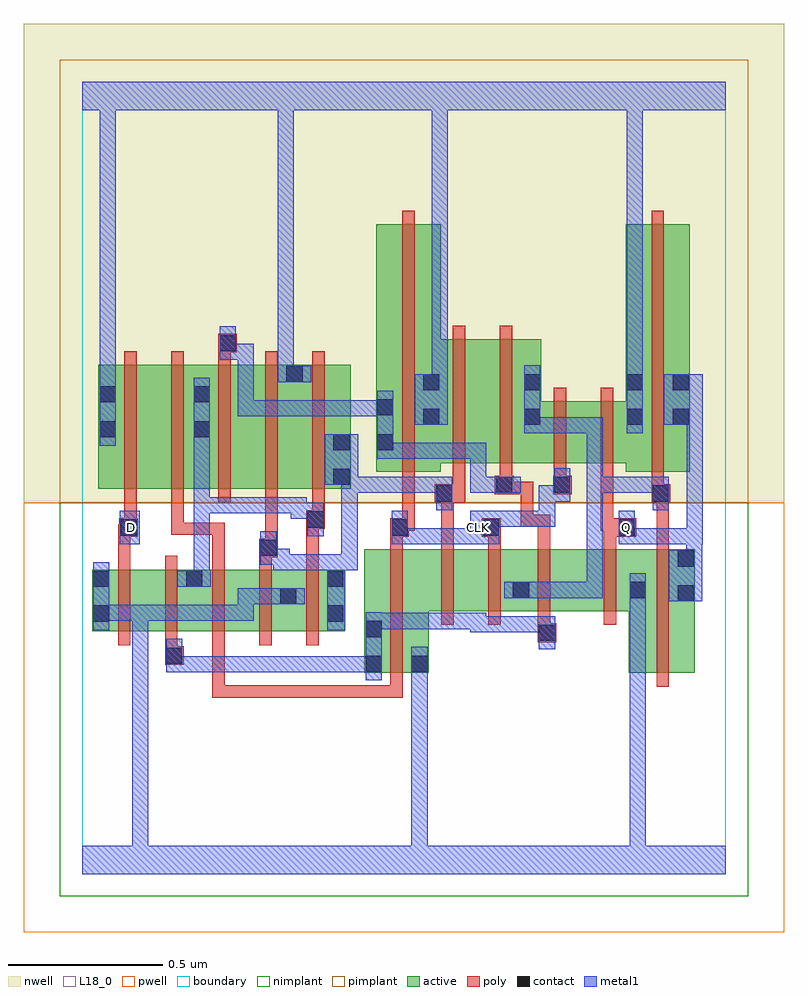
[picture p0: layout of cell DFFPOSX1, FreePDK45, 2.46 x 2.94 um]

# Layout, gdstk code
import gdstk
lib = gdstk.Library(unit=1e-6, precision=1e-09)
def R(c, l, rs):  # rectangles x0, y0, x1, y1
    for r in rs: c.add(gdstk.rectangle(r[:2], r[2:], *l))
def A(c, l, x, y, w, h, nx, ny, dx, dy):  # array of equal rectangles
    R(c, l, [(x+i*dx, y+j*dy, x+i*dx+w, y+j*dy+h) for i in range(nx) for j in range(ny)])
active = (1, 0)
pwell = (2, 0)
nwell = (3, 0)
nimplant = (4, 0)
pimplant = (5, 0)
poly = (9, 0)
contact = (10, 0)
metal1 = (11, 0)
L18_0 = (18, 0)
boundary = (235, 0)

dffposx1 = lib.new_cell('DFFPOSX1')
R(dffposx1, active, [(0.912,0.65,1.12,1.05), (0.912,0.65,0.972,1.05), (1.06,0.65,1.12,0.906), (1.766,0.65,1.98,1.05), (1.92,0.756,1.98,1.05), (0.032,0.784,0.092,0.984), (0.032,0.784,0.212,0.984), (0.212,0.784,0.392,0.984), (0.332,0.784,0.392,0.984), (0.332,0.784,0.516,0.984), (0.516,0.784,0.696,0.984), (0.636,0.784,0.696,0.984), (0.636,0.784,0.848,0.984), (0.788,0.784,0.848,0.984), (1.766,0.834,1.826,1.028), (1.06,0.85,1.256,1.05), (1.256,0.85,1.448,1.05), (1.388,0.85,1.63,1.05), (1.388,0.85,1.448,1.028), (1.63,0.85,1.826,1.05), (0.052,1.246,0.112,1.646), (0.052,1.246,0.232,1.646), (0.232,1.246,0.416,1.646), (0.356,1.246,0.416,1.646), (0.356,1.246,0.536,1.646), (0.536,1.246,0.716,1.646), (0.656,1.246,0.868,1.646), (0.808,1.246,0.868,1.644), (0.95,1.3,1.01,2.044), (0.95,1.3,1.158,2.1), (1.756,1.3,1.964,2.1), (1.904,1.3,1.964,2.044), (1.098,1.328,1.294,1.728), (1.294,1.328,1.484,1.728), (1.424,1.328,1.62,1.528), (1.62,1.328,1.816,1.528), (1.756,1.344,1.816,1.62), (1.098,1.372,1.158,1.966), (1.424,1.372,1.484,1.62), (0.656,1.472,0.716,1.646)])
R(dffposx1, pwell, [(-0.188,-0.188,2.268,1.2)])
R(dffposx1, nwell, [(-0.188,1.2,2.268,2.748)])
R(dffposx1, nimplant, [(-0.072,-0.072,2.152,1.2)])
R(dffposx1, pimplant, [(-0.072,1.2,2.152,2.632)])
A(dffposx1, poly, 0.116, 0.74, 0.04, 0.288, 5, 1, 0.152, 0)
A(dffposx1, poly, 0.136, 1.202, 0.04, 0.488, 5, 1, 0.152, 0)
R(dffposx1, poly, [(0.42,0.57,0.46,0.61), (0.42,0.57,0.46,0.61), (0.42,0.57,0.46,0.61), (0.42,0.57,0.46,0.61), (0.42,0.57,0.46,0.61), (0.42,0.57,0.658,0.61), (0.42,0.57,0.46,0.78), (0.618,0.57,0.658,0.61), (0.618,0.57,0.658,0.61), (0.618,0.57,0.658,0.61), (0.618,0.57,0.658,0.61), (0.618,0.57,0.658,0.61), (0.618,0.57,0.764,0.61), (0.724,0.57,0.764,0.61), (0.724,0.57,0.764,0.61), (0.724,0.57,0.764,0.61), (0.724,0.57,1.036,0.61), (0.996,0.57,1.036,0.646), (0.996,0.57,1.036,0.61), (0.996,0.57,1.036,0.61), (0.996,0.57,1.036,0.61), (0.996,0.606,1.036,1.094), (1.856,0.606,1.896,1.094), (0.268,0.676,0.328,0.736), (0.268,0.696,0.308,0.78), (1.472,0.75,1.532,0.81), (1.472,0.77,1.512,0.846), (1.16,0.806,1.2,1.094), (1.312,0.806,1.352,1.094), (1.472,0.806,1.512,1.094), (1.686,0.806,1.726,1.094), (0.116,0.988,0.156,1.13), (0.42,0.988,0.46,1.136), (0.572,0.988,0.612,1.064), (0.724,0.988,0.764,1.156), (0.572,1.024,0.632,1.084), (0.592,1.044,0.632,1.084), (0.592,1.044,0.632,1.084), (0.592,1.044,0.632,1.242), (0.996,1.054,1.036,1.13), (1.16,1.054,1.2,1.24), (1.312,1.054,1.352,1.13), (1.472,1.054,1.512,1.162), (1.686,1.054,1.726,1.13), (1.856,1.054,1.896,1.24), (0.116,1.09,0.16,1.13), (0.12,1.09,0.16,1.13), (0.12,1.09,0.18,1.15), (0.996,1.09,1.056,1.15), (1.292,1.09,1.352,1.15), (1.686,1.09,1.79,1.15), (0.288,1.096,0.328,1.136), (0.288,1.096,0.328,1.136), (0.288,1.096,0.328,1.136), (0.288,1.096,0.328,1.136), (0.288,1.096,0.328,1.136), (0.288,1.096,0.328,1.242), (0.288,1.096,0.46,1.136), (0.42,1.096,0.46,1.136), (0.136,1.11,0.176,1.242), (1.016,1.11,1.056,1.15), (1.016,1.11,1.074,1.15), (1.034,1.11,1.074,1.296), (1.676,1.11,1.716,1.324), (1.676,1.11,1.726,1.15), (1.686,1.11,1.726,1.15), (0.724,1.116,0.764,1.156), (0.724,1.116,0.764,1.156), (0.724,1.116,0.784,1.176), (1.418,1.122,1.458,1.162), (1.418,1.122,1.512,1.162), (1.418,1.122,1.458,1.268), (1.472,1.122,1.512,1.162), (0.744,1.136,0.784,1.242), (1.14,1.2,1.238,1.26), (1.16,1.2,1.2,1.24), (1.16,1.2,1.2,1.24), (1.84,1.2,1.9,1.26), (1.856,1.2,1.896,1.24), (1.856,1.2,1.896,1.24), (1.198,1.22,1.238,1.324), (1.84,1.22,1.88,1.296), (1.334,1.228,1.394,1.288), (1.354,1.228,1.458,1.268), (1.418,1.228,1.458,1.268), (1.522,1.228,1.582,1.288), (1.35,1.248,1.39,1.324), (1.524,1.248,1.564,1.324), (1.034,1.256,1.074,2.144), (1.84,1.256,1.88,2.144), (1.198,1.284,1.238,1.772), (1.35,1.284,1.39,1.772), (1.524,1.284,1.564,1.572), (1.676,1.284,1.716,1.572), (0.44,1.65,0.48,1.726), (0.44,1.686,0.5,1.746)])
R(dffposx1, contact, [(0.916,0.654,0.968,0.706), (1.064,0.654,1.116,0.706), (0.272,0.68,0.324,0.732), (1.476,0.754,1.528,0.806), (0.916,0.766,0.968,0.818), (0.036,0.816,0.088,0.868), (0.792,0.816,0.844,0.868), (0.64,0.872,0.692,0.924), (1.924,0.882,1.976,0.934), (1.392,0.892,1.444,0.944), (1.77,0.892,1.822,0.944), (0.036,0.928,0.088,0.98), (0.336,0.928,0.388,0.98), (0.792,0.928,0.844,0.98), (1.924,0.994,1.976,1.046), (0.576,1.028,0.628,1.08), (0.124,1.094,0.176,1.146), (1,1.094,1.052,1.146), (1.296,1.094,1.348,1.146), (1.734,1.094,1.786,1.146), (0.728,1.12,0.78,1.172), (1.144,1.204,1.196,1.256), (1.844,1.204,1.896,1.256), (1.338,1.232,1.39,1.284), (1.526,1.232,1.578,1.284), (0.812,1.258,0.864,1.31), (0.812,1.37,0.864,1.422), (0.954,1.37,1.006,1.422), (0.056,1.412,0.108,1.464), (0.36,1.412,0.412,1.464), (1.102,1.452,1.154,1.504), (1.428,1.452,1.48,1.504), (1.76,1.452,1.812,1.504), (1.908,1.452,1.96,1.504), (0.954,1.482,1.006,1.534), (0.056,1.524,0.108,1.576), (0.36,1.524,0.412,1.576), (1.102,1.564,1.154,1.616), (1.428,1.564,1.48,1.616), (1.76,1.564,1.812,1.616), (1.908,1.564,1.96,1.616), (0.66,1.59,0.712,1.642), (0.444,1.69,0.496,1.742)])
R(dffposx1, metal1, [(0,0,2.08,0.092), (0.162,0.04,0.214,0.092), (0.162,0.04,0.214,0.092), (0.162,0.04,0.214,0.092), (0.162,0.04,0.214,0.092), (0.162,0.04,0.214,0.092), (0.162,0.04,0.214,0.092), (0.162,0.04,0.214,0.092), (0.162,0.04,0.214,0.092), (0.162,0.04,0.214,0.87), (1.064,0.04,1.116,0.092), (1.064,0.04,1.116,0.092), (1.064,0.04,1.116,0.092), (1.064,0.04,1.116,0.092), (1.064,0.04,1.116,0.092), (1.064,0.04,1.116,0.092), (1.064,0.04,1.116,0.092), (1.064,0.04,1.116,0.092), (1.064,0.04,1.116,0.092), (1.064,0.04,1.116,0.092), (1.064,0.04,1.116,0.092), (1.064,0.04,1.116,0.092), (1.064,0.04,1.116,0.678), (1.77,0.04,1.822,0.092), (1.77,0.04,1.822,0.092), (1.77,0.04,1.822,0.916), (0.916,0.626,0.968,0.846), (1.064,0.626,1.116,0.734), (0.272,0.652,0.324,0.704), (0.272,0.652,0.324,0.704), (0.272,0.652,0.324,0.76), (0.272,0.652,0.434,0.704), (0.382,0.652,0.434,0.704), (0.382,0.652,0.554,0.704), (0.502,0.652,0.554,0.704), (0.502,0.652,0.664,0.704), (0.612,0.652,0.664,0.704), (0.612,0.652,0.664,0.704), (0.612,0.652,0.664,0.704), (0.612,0.652,0.858,0.704), (0.806,0.652,0.858,0.704), (0.806,0.652,0.858,0.704), (0.806,0.652,0.858,0.704), (0.806,0.652,0.968,0.704), (1.476,0.726,1.528,0.834), (1.254,0.782,1.306,0.834), (1.254,0.782,1.306,0.834), (1.254,0.782,1.528,0.834), (1.254,0.782,1.306,0.844), (1.476,0.782,1.528,0.834), (1.476,0.782,1.528,0.834), (0.036,0.788,0.088,1.008), (0.792,0.788,0.85,1.008), (0.916,0.792,1.002,0.844), (0.95,0.792,1.002,0.844), (0.95,0.792,1.182,0.844), (1.13,0.792,1.182,0.844), (1.13,0.792,1.182,0.844), (1.13,0.792,1.182,0.844), (1.13,0.792,1.306,0.844), (0.036,0.818,0.088,0.87), (0.036,0.818,0.088,0.87), (0.036,0.818,0.214,0.87), (0.162,0.818,0.214,0.87), (0.162,0.818,0.214,0.87), (0.162,0.818,0.214,0.87), (0.162,0.818,0.214,0.87), (0.162,0.818,0.214,0.87), (0.162,0.818,0.214,0.87), (0.162,0.818,0.214,0.87), (0.162,0.818,0.214,0.87), (0.162,0.818,0.214,0.87), (0.162,0.818,0.214,0.87), (0.162,0.818,0.214,0.87), (0.162,0.818,0.214,0.87), (0.162,0.818,0.214,0.87), (0.162,0.818,0.444,0.87), (0.392,0.818,0.444,0.87), (0.392,0.818,0.444,0.87), (0.392,0.818,0.444,0.87), (0.392,0.818,0.554,0.87), (0.502,0.818,0.554,0.87), (0.502,0.818,0.554,0.924), (1.77,0.864,1.822,0.916), (1.77,0.864,1.822,0.916), (1.77,0.864,1.822,0.916), (1.77,0.864,1.822,0.916), (1.77,0.864,1.822,0.916), (1.77,0.864,1.822,0.916), (1.77,0.864,1.822,0.916), (1.77,0.864,1.822,0.916), (1.77,0.864,1.822,0.916), (1.77,0.864,1.822,0.916), (1.77,0.864,1.822,0.972), (0.502,0.872,0.554,0.924), (0.502,0.872,0.664,0.924), (0.612,0.872,0.664,0.924), (0.612,0.872,0.664,0.924), (0.612,0.872,0.72,0.924), (1.896,0.882,2.004,1.046), (1.364,0.892,1.472,0.944), (1.42,0.892,1.676,0.944), (1.624,0.892,1.676,0.944), (1.624,0.892,1.682,0.944), (1.63,0.892,1.682,0.944), (1.63,0.892,1.682,0.944), (1.63,0.892,1.682,0.944), (1.63,0.892,1.682,1.284), (0.308,0.928,0.416,0.98), (0.36,0.928,0.412,0.98), (0.36,0.928,0.412,0.98), (0.36,0.928,0.412,1.218), (0.798,0.956,0.85,1.034), (0.618,0.982,0.85,1.034), (0.618,0.982,0.67,1.052), (0.798,0.982,0.85,1.034), (0.798,0.982,0.85,1.034), (0.798,0.982,0.89,1.034), (0.838,0.982,0.89,1.284), (1.952,0.994,2.004,1.118), (0.576,1,0.628,1.108), (0.576,1,0.67,1.052), (0.122,1.066,0.186,1.174), (1,1.066,1.052,1.174), (1,1.066,1.116,1.118), (1.064,1.066,1.116,1.118), (1.064,1.066,1.182,1.118), (1.13,1.066,1.182,1.118), (1.13,1.066,1.306,1.118), (1.254,1.066,1.306,1.118), (1.254,1.066,1.306,1.118), (1.254,1.066,1.348,1.174), (1.734,1.066,1.786,1.174), (1.734,1.066,1.792,1.118), (1.74,1.066,1.792,1.118), (1.74,1.066,2.004,1.118), (1.952,1.066,2.004,1.118), (1.952,1.066,2.004,1.118), (1.952,1.066,2.006,1.118), (1.954,1.066,2.006,1.504), (1.954,1.066,2.006,1.118), (1.954,1.066,2.006,1.118), (0.728,1.092,0.78,1.2), (1.296,1.122,1.528,1.174), (1.476,1.122,1.528,1.174), (1.476,1.122,1.528,1.256), (0.674,1.148,0.78,1.2), (0.674,1.148,0.726,1.218), (0.36,1.166,0.412,1.218), (0.36,1.166,0.434,1.218), (0.36,1.166,0.412,1.436), (0.382,1.166,0.434,1.218), (0.382,1.166,0.554,1.218), (0.502,1.166,0.554,1.218), (0.502,1.166,0.67,1.218), (0.618,1.166,0.67,1.218), (0.618,1.166,0.726,1.218), (1.144,1.176,1.196,1.284), (1.844,1.176,1.896,1.284), (1.476,1.204,1.528,1.256), (1.476,1.204,1.578,1.256), (1.526,1.204,1.578,1.312), (0.838,1.232,0.89,1.284), (0.838,1.232,0.972,1.284), (0.838,1.232,0.89,1.31), (0.92,1.232,0.972,1.284), (0.92,1.232,1.072,1.284), (1.02,1.232,1.072,1.284), (1.02,1.232,1.196,1.284), (1.144,1.232,1.196,1.284), (1.144,1.232,1.196,1.284), (1.254,1.232,1.306,1.284), (1.254,1.232,1.362,1.284), (1.254,1.232,1.306,1.394), (1.31,1.232,1.418,1.284), (1.63,1.232,1.682,1.284), (1.63,1.232,1.786,1.284), (1.63,1.232,1.682,1.476), (1.734,1.232,1.786,1.284), (1.734,1.232,1.792,1.284), (1.74,1.232,1.792,1.284), (1.74,1.232,1.896,1.284), (0.784,1.258,0.892,1.422), (0.954,1.342,1.006,1.394), (0.954,1.342,1.006,1.394), (0.954,1.342,1.006,1.562), (0.954,1.342,1.182,1.394), (1.13,1.342,1.182,1.394), (1.13,1.342,1.182,1.394), (1.13,1.342,1.182,1.394), (1.13,1.342,1.306,1.394), (1.254,1.342,1.306,1.394), (0.056,1.384,0.108,1.604), (0.36,1.384,0.412,1.604), (1.428,1.424,1.48,1.644), (1.428,1.424,1.676,1.476), (1.624,1.424,1.676,1.476), (1.624,1.424,1.682,1.476), (1.63,1.424,1.682,1.476), (1.76,1.424,1.812,1.644), (1.074,1.452,1.182,1.616), (1.88,1.452,2.006,1.616), (0.502,1.48,0.554,1.532), (0.502,1.48,0.664,1.532), (0.502,1.48,0.554,1.714), (0.612,1.48,0.664,1.532), (0.612,1.48,0.664,1.532), (0.612,1.48,0.664,1.532), (0.612,1.48,0.664,1.532), (0.612,1.48,0.664,1.532), (0.612,1.48,0.858,1.532), (0.806,1.48,0.858,1.532), (0.806,1.48,0.858,1.532), (0.806,1.48,0.858,1.532), (0.806,1.48,1.006,1.532), (0.954,1.48,1.006,1.532), (0.954,1.48,1.006,1.562), (0.056,1.552,0.108,1.604), (0.056,1.552,0.108,1.604), (0.056,1.552,0.108,1.604), (0.056,1.552,0.108,1.604), (0.056,1.552,0.108,1.604), (0.056,1.552,0.108,1.604), (0.056,1.552,0.108,1.604), (0.056,1.552,0.108,1.604), (0.056,1.552,0.108,1.604), (0.056,1.552,0.108,1.604), (0.056,1.552,0.108,1.604), (0.056,1.552,0.108,1.604), (0.056,1.552,0.108,1.604), (0.056,1.552,0.108,1.604), (0.056,1.552,0.108,1.604), (0.056,1.552,0.108,1.604), (0.056,1.552,0.108,2.52), (1.13,1.564,1.182,1.616), (1.13,1.564,1.182,1.616), (1.13,1.564,1.182,2.52), (0.632,1.59,0.684,1.642), (0.632,1.59,0.684,1.642), (0.632,1.59,0.684,1.642), (0.632,1.59,0.684,1.642), (0.632,1.59,0.684,1.642), (0.632,1.59,0.684,1.642), (0.632,1.59,0.684,1.642), (0.632,1.59,0.684,1.642), (0.632,1.59,0.74,1.642), (0.632,1.59,0.684,2.52), (1.76,1.592,1.812,1.644), (1.76,1.592,1.812,1.644), (1.76,1.592,1.812,1.644), (1.76,1.592,1.812,1.644), (1.76,1.592,1.812,2.52), (0.444,1.662,0.496,1.77), (0.444,1.662,0.554,1.714), (0.502,1.662,0.554,1.714), (0.502,1.662,0.554,1.714), (0.502,1.662,0.554,1.714), (0,2.468,2.08,2.56), (0.632,2.468,0.684,2.52), (0.632,2.468,0.684,2.52), (0.632,2.468,0.684,2.52), (0.632,2.468,0.684,2.52), (0.632,2.468,0.684,2.52), (0.632,2.468,0.684,2.52), (0.632,2.468,0.684,2.52), (0.632,2.468,0.684,2.52), (1.13,2.468,1.182,2.52), (1.13,2.468,1.182,2.52), (1.13,2.468,1.182,2.52), (1.13,2.468,1.182,2.52), (1.13,2.468,1.182,2.52), (1.13,2.468,1.182,2.52), (1.76,2.468,1.812,2.52), (1.76,2.468,1.812,2.52), (1.76,2.468,1.812,2.52), (1.76,2.468,1.812,2.52)])
R(dffposx1, L18_0, [(0,0,2.08,0.092), (0.162,0.04,0.214,0.092), (0.162,0.04,0.214,0.092), (0.162,0.04,0.214,0.092), (0.162,0.04,0.214,0.092), (0.162,0.04,0.214,0.092), (0.162,0.04,0.214,0.092), (0.162,0.04,0.214,0.092), (0.162,0.04,0.214,0.092), (0.162,0.04,0.214,0.87), (1.064,0.04,1.116,0.092), (1.064,0.04,1.116,0.092), (1.064,0.04,1.116,0.092), (1.064,0.04,1.116,0.092), (1.064,0.04,1.116,0.092), (1.064,0.04,1.116,0.092), (1.064,0.04,1.116,0.092), (1.064,0.04,1.116,0.092), (1.064,0.04,1.116,0.092), (1.064,0.04,1.116,0.092), (1.064,0.04,1.116,0.092), (1.064,0.04,1.116,0.092), (1.064,0.04,1.116,0.678), (1.77,0.04,1.822,0.092), (1.77,0.04,1.822,0.092), (1.77,0.04,1.822,0.916), (1.064,0.626,1.116,0.734), (0.036,0.788,0.088,1.008), (0.036,0.818,0.088,0.87), (0.036,0.818,0.088,0.87), (0.036,0.818,0.214,0.87), (0.162,0.818,0.214,0.87), (0.162,0.818,0.214,0.87), (0.162,0.818,0.214,0.87), (0.162,0.818,0.214,0.87), (0.162,0.818,0.214,0.87), (0.162,0.818,0.214,0.87), (0.162,0.818,0.214,0.87), (0.162,0.818,0.214,0.87), (0.162,0.818,0.214,0.87), (0.162,0.818,0.214,0.87), (0.162,0.818,0.214,0.87), (0.162,0.818,0.214,0.87), (0.162,0.818,0.214,0.87), (0.162,0.818,0.444,0.87), (0.392,0.818,0.444,0.87), (0.392,0.818,0.444,0.87), (0.392,0.818,0.444,0.87), (0.392,0.818,0.554,0.87), (0.502,0.818,0.554,0.87), (0.502,0.818,0.554,0.924), (1.77,0.864,1.822,0.916), (1.77,0.864,1.822,0.916), (1.77,0.864,1.822,0.916), (1.77,0.864,1.822,0.916), (1.77,0.864,1.822,0.916), (1.77,0.864,1.822,0.916), (1.77,0.864,1.822,0.916), (1.77,0.864,1.822,0.916), (1.77,0.864,1.822,0.916), (1.77,0.864,1.822,0.916), (1.77,0.864,1.822,0.972), (0.502,0.872,0.554,0.924), (0.502,0.872,0.664,0.924), (0.612,0.872,0.664,0.924), (0.612,0.872,0.664,0.924), (0.612,0.872,0.72,0.924), (1.896,0.882,2.004,1.046), (1.952,0.994,2.004,1.118), (0.122,1.066,0.186,1.174), (1,1.066,1.052,1.174), (1,1.066,1.116,1.118), (1.064,1.066,1.116,1.118), (1.064,1.066,1.182,1.118), (1.13,1.066,1.182,1.118), (1.13,1.066,1.306,1.118), (1.254,1.066,1.306,1.118), (1.254,1.066,1.306,1.118), (1.254,1.066,1.348,1.174), (1.734,1.066,1.786,1.174), (1.734,1.066,1.792,1.118), (1.74,1.066,1.792,1.118), (1.74,1.066,2.004,1.118), (1.952,1.066,2.004,1.118), (1.952,1.066,2.004,1.118), (1.952,1.066,2.006,1.118), (1.954,1.066,2.006,1.118), (1.954,1.066,2.006,1.118), (1.954,1.066,2.006,1.504), (0.134,1.094,0.186,1.146), (1.254,1.094,1.306,1.146), (1.734,1.094,1.786,1.146), (1.296,1.122,1.528,1.174), (1.476,1.122,1.528,1.174), (1.476,1.122,1.528,1.256), (1.476,1.204,1.528,1.256), (1.476,1.204,1.578,1.256), (1.526,1.204,1.578,1.312), (0.056,1.384,0.108,1.604), (1.76,1.424,1.812,1.644), (1.074,1.452,1.182,1.616), (1.88,1.452,2.006,1.616), (0.056,1.552,0.108,1.604), (0.056,1.552,0.108,1.604), (0.056,1.552,0.108,1.604), (0.056,1.552,0.108,1.604), (0.056,1.552,0.108,1.604), (0.056,1.552,0.108,1.604), (0.056,1.552,0.108,1.604), (0.056,1.552,0.108,1.604), (0.056,1.552,0.108,1.604), (0.056,1.552,0.108,1.604), (0.056,1.552,0.108,1.604), (0.056,1.552,0.108,1.604), (0.056,1.552,0.108,1.604), (0.056,1.552,0.108,1.604), (0.056,1.552,0.108,1.604), (0.056,1.552,0.108,1.604), (0.056,1.552,0.108,2.52), (1.13,1.564,1.182,1.616), (1.13,1.564,1.182,1.616), (1.13,1.564,1.182,2.52), (0.632,1.59,0.684,1.642), (0.632,1.59,0.684,1.642), (0.632,1.59,0.684,1.642), (0.632,1.59,0.684,1.642), (0.632,1.59,0.684,1.642), (0.632,1.59,0.684,1.642), (0.632,1.59,0.684,1.642), (0.632,1.59,0.684,1.642), (0.632,1.59,0.74,1.642), (0.632,1.59,0.684,2.52), (1.76,1.592,1.812,1.644), (1.76,1.592,1.812,1.644), (1.76,1.592,1.812,1.644), (1.76,1.592,1.812,1.644), (1.76,1.592,1.812,2.52), (0,2.468,2.08,2.56), (0.632,2.468,0.684,2.52), (0.632,2.468,0.684,2.52), (0.632,2.468,0.684,2.52), (0.632,2.468,0.684,2.52), (0.632,2.468,0.684,2.52), (0.632,2.468,0.684,2.52), (0.632,2.468,0.684,2.52), (0.632,2.468,0.684,2.52), (1.13,2.468,1.182,2.52), (1.13,2.468,1.182,2.52), (1.13,2.468,1.182,2.52), (1.13,2.468,1.182,2.52), (1.13,2.468,1.182,2.52), (1.13,2.468,1.182,2.52), (1.76,2.468,1.812,2.52), (1.76,2.468,1.812,2.52), (1.76,2.468,1.812,2.52), (1.76,2.468,1.812,2.52)])
R(dffposx1, boundary, [(0,0,2.08,2.56)])
dffposx1.add(gdstk.Label('CLK', (1.28,1.12), layer=11, texttype=0))
dffposx1.add(gdstk.Label('D', (0.16,1.12), layer=11, texttype=0))
dffposx1.add(gdstk.Label('Q', (1.76,1.12), layer=11, texttype=0))

lib.write_gds('DFFPOSX1.gds')
